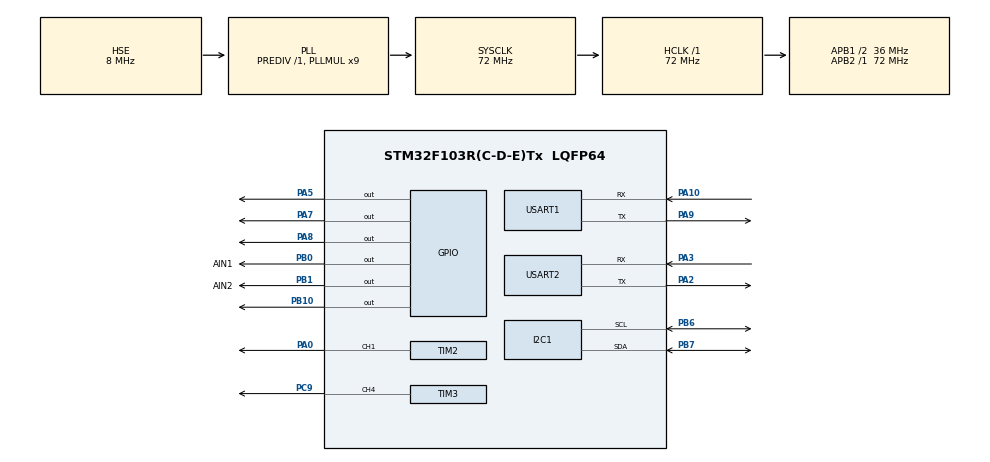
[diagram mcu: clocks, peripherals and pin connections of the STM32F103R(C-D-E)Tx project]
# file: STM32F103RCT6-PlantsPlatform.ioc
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Mcu.Family=STM32F1
Mcu.Name=STM32F103R(C-D-E)Tx
Mcu.Package=LQFP64
NVIC.PriorityGroup=NVIC_PRIORITYGROUP_4
NVIC.TIM1_BRK_IRQn=true\:0\:0\:false\:false\:true\:true\:true\:true
NVIC.TIM1_CC_IRQn=true\:0\:0\:false\:false\:true\:true\:true\:true
NVIC.TIM1_TRG_COM_IRQn=true\:0\:0\:false\:false\:true\:true\:true\:true
NVIC.TIM1_UP_IRQn=true\:0\:0\:false\:false\:true\:true\:true\:true
NVIC.TIM2_IRQn=true\:0\:0\:false\:false\:true\:true\:true\:true
NVIC.TIM3_IRQn=true\:0\:0\:false\:false\:true\:true\:true\:true
NVIC.USART1_IRQn=true\:1\:0\:true\:false\:true\:true\:true\:true
NVIC.USART2_IRQn=true\:1\:0\:true\:false\:true\:true\:true\:true
PA0-WKUP.Signal=S_TIM2_CH1_ETR
PA10.Mode=Asynchronous
PA10.Signal=USART1_RX
PA13.Mode=Serial_Wire
PA13.Signal=SYS_JTMS-SWDIO
PA14.Mode=Serial_Wire
PA14.Signal=SYS_JTCK-SWCLK
PA2.Mode=Asynchronous
PA2.Signal=USART2_TX
PA3.Mode=Asynchronous
PA3.Signal=USART2_RX
PA5.Signal=GPIO_Output
PA7.Signal=GPIO_Output
PA8.GPIO_PuPd=GPIO_PULLUP
PA8.PinState=GPIO_PIN_SET
PA8.Signal=GPIO_Output
PA9.Mode=Asynchronous
PA9.Signal=USART1_TX
PB0.GPIO_Label=AIN1
PB0.PinState=GPIO_PIN_SET
PB0.Signal=GPIO_Output
PB1.GPIO_Label=AIN2
PB1.PinState=GPIO_PIN_SET
PB1.Signal=GPIO_Output
PB10.PinState=GPIO_PIN_SET
PB10.Signal=GPIO_Output
PB6.Mode=I2C
PB6.Signal=I2C1_SCL
PB7.Mode=I2C
PB7.Signal=I2C1_SDA
PC14-OSC32_IN.Mode=LSE-External-Oscillator
PC14-OSC32_IN.Signal=RCC_OSC32_IN
PC15-OSC32_OUT.Mode=LSE-External-Oscillator
PC15-OSC32_OUT.Signal=RCC_OSC32_OUT
PC9.Signal=S_TIM3_CH4
PD0-OSC_IN.Mode=HSE-External-Oscillator
PD0-OSC_IN.Signal=RCC_OSC_IN
PD1-OSC_OUT.Mode=HSE-External-Oscillator
PD1-OSC_OUT.Signal=RCC_OSC_OUT
ProjectManager.HeapSize=0x200
ProjectManager.StackSize=0x400
ProjectManager.TargetToolchain=MDK-ARM V5.32
RCC.ADCPresc=RCC_ADCPCLK2_DIV6
RCC.AHBFreq_Value=72000000
RCC.APB1CLKDivider=RCC_HCLK_DIV2
RCC.APB1Freq_Value=36000000
RCC.APB1TimFreq_Value=72000000
RCC.APB2Freq_Value=72000000
RCC.APB2TimFreq_Value=72000000
RCC.HCLKFreq_Value=72000000
RCC.PLLMUL=RCC_PLL_MUL9
RCC.PLLSourceVirtual=RCC_PLLSOURCE_HSE
RCC.SYSCLKFreq_VALUE=72000000
RCC.SYSCLKSource=RCC_SYSCLKSOURCE_PLLCLK
RCC.USBFreq_Value=72000000
SH.S_TIM2_CH1_ETR.0=TIM2_CH1,PWM Generation1 CH1
SH.S_TIM3_CH4.0=TIM3_CH4,PWM Generation4 CH4
TIM1.Period=65535
TIM1.Prescaler=71
TIM2.AutoReloadPreload=TIM_AUTORELOAD_PRELOAD_ENABLE
TIM2.Channel-PWM\ Generation1\ CH1=TIM_CHANNEL_1
TIM2.Period=1999
TIM2.Prescaler=719
TIM3.AutoReloadPreload=TIM_AUTORELOAD_PRELOAD_DISABLE
TIM3.Channel-PWM\ Generation4\ CH4=TIM_CHANNEL_4
TIM3.Period=999
TIM3.Prescaler=71
TIM3.TIM_MasterOutputTrigger=TIM_TRGO_UPDATE
USART1.VirtualMode=VM_ASYNC
USART2.VirtualMode=VM_ASYNC
VP_TIM1_VS_ClockSourceINT.Mode=Internal
VP_TIM3_VS_ClockSourceINT.Mode=Internal
board=custom

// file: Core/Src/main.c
/* USER CODE BEGIN Header */
/**
  ******************************************************************************
  * @file           : main.c
  * @brief          : Main program body
  ******************************************************************************
  * @attention
  *
  * Copyright (c) 2024 STMicroelectronics.
  * All rights reserved.
  *
  * This software is licensed under terms that can be found in the LICENSE file
  * in the root directory of this software component.
  * If no LICENSE file comes with this software, it is provided AS-IS.
  *
  ******************************************************************************
  */
/* USER CODE END Header */
#include "main.h"
#include "i2c.h"
#include "tim.h"
#include "usart.h"
#include "gpio.h"

/* USER CODE BEGIN Includes */
#include "stdio.h"
#include "string.h"
#include "esp8266.h"
#include "onenet.h"
#include "oled.h"
#include "dht11.h"
#define STACK_SIZE 1024 // 增加堆栈大小

int fputc(int ch, FILE *f){
	uint8_t temp[1] = {ch};
	HAL_UART_Transmit(&huart1, temp, 1, 0xffff);
return ch;
}
/* USER CODE END Includes */

/* USER CODE BEGIN PV */
uint16_t GetHumidity(int times);
uint8_t GPIO_set(uint8_t status);
/* USER CODE END PV */

void SystemClock_Config(void);

/* USER CODE BEGIN 0 */
//#define Channels 4		//对应4个ADC频道提供后期传感器拓展接口
//#define Data 10			//ADC回调中ֵ每次读取10次值滤波
#define ESP8266_OneNet_INFO		"AT+CIPSTART=\"TCP\",\"mqtts.heclouds.com\",1883\r\n"			//OneNet 上云

uint8_t DATA[4] = {0XAA,0XAF,0X00,0XFF};		//串口调试用
//uint16_t ADC_Value[Data][Channels];
//uint8_t Hum = 0;
uint16_t Count = 0;
extern uint8_t Data[5];
float temp,humi;
int light_status;
int duoji_status;
int fan_status;
float pulse;
/* USER CODE END 0 */

int main(void)
{
  /* USER CODE BEGIN 1 */
	unsigned char *dataPtr = NULL;

  /* USER CODE END 1 */

  /* MCU Configuration--------------------------------------------------------*/

  /* Reset of all peripherals, Initializes the Flash interface and the Systick. */
  HAL_Init();

  /* Configure the system clock */
  SystemClock_Config();

  /* Initialize all configured peripherals */
  MX_GPIO_Init();
  MX_USART1_UART_Init();
  MX_TIM3_Init();
  MX_USART2_UART_Init();
  MX_I2C1_Init();
  MX_TIM1_Init();
  MX_TIM2_Init();
  /* USER CODE BEGIN 2 */

	 OLED_Init();  // 初始化OLED
	 OLED_CLS();   // 清屏
	 OLED_ON();    // 开启显示
	 ESP8266_Init();
	//HAL_UART_Transmit(&huart1,(uint8_t *)"Connect MQTTs Server...\r\n",sizeof("Connect MQTTs Server...\r\n"),0xffff);
	while(ESP8266_SendCmd(ESP8266_OneNet_INFO,"CONNECT"))
	HAL_Delay(10);
	//HAL_UART_Transmit(&huart1,(uint8_t *)"Connect MQTTs Server Success!\r\n",sizeof("Connect MQTTs Server Success!\r\n"),0xffff);
	HAL_Delay(10);
	while(OneNet_DevLink())
	HAL_Delay(10);
	 // 显示字符串
	OLED_ShowStr(0, 1, "1. AT", 2);  // 在(0,1)位置显示"Hello World"，使用8*16字体
	HAL_Delay(2000);
	OLED_CLS();   // 清屏
	OLED_ShowStr(0, 1, "2. CWMODE", 2);  // 在(0,1)位置显示"Hello World"，使用8*16字体
	HAL_Delay(2000);
	OLED_CLS();
	OLED_ShowStr(0, 1, "3. AT+CWDHCP", 2);  // 在(0,1)位置显示"Hello World"，使用8*16字体
	HAL_Delay(2000);
	OLED_CLS();
	OLED_ShowStr(0, 1, "4. CWJAP", 2);  // 在(0,1)位置显示"Hello World"，使用8*16字体
	HAL_Delay(2000);
	OLED_CLS();
	OLED_ShowStr(0, 1, "5. ESP8266 Init OK", 2);  // 在(0,1)位置显示"Hello World"，使用8*16字体
	HAL_Delay(2000);
	OLED_CLS();
	OLED_ShowStr(0, 1, "Hello World", 2);  // 在(0,1)位置显示"Hello World"，使用8*16字体
	HAL_Delay(5000);
	OLED_CLS();   // 清屏
	OneNET_Subscribe();

	 HAL_Delay(10);

	light_status = GPIO_set(0);
  duoji_status = Duoji_set(0);
	fan_status = fan_set(0);

	HAL_Delay(100);
  /* USER CODE END 2 */

  /* Infinite loop */
  /* USER CODE BEGIN WHILE */
  while (1)
  {

        DHT_Read();

				temp = Data[2]+0.1*Data[3];

				humi = Data[0]+0.1*Data[1];

				Count++;
		OLED_ShowStr(10, 1, "temp:", 2);
		OLED_ShowNum(40, 1,temp,5,16);//size2(16|12)
		OLED_ShowStr(10, 4, "humi:", 2);
		OLED_ShowNum(40,4,humi,5,16);//size2(16|12)

		if(Count > 30){

				temp = Data[2]+0.1*Data[3];

				humi = Data[0]+0.1*Data[1];

			HAL_Delay(50);
			//printf("OneNet_SendData\r\n");

			OneNet_SendData();
			Count = 0;
			ESP8266_Clear();
		}
		HAL_Delay(50);
		dataPtr = ESP8266_GetIPD(0);
		if(dataPtr != NULL){
			OneNet_RevPro(dataPtr);
			ESP8266_Clear();
		}

//		 int i=1000; //循环时间间隔1s
//
//      __HAL_TIM_SET_COMPARE(&htim2,TIM_CHANNEL_1,50); //相当于一个周期内（20ms）有0.5ms高脉冲
//      HAL_Delay(i);
//      __HAL_TIM_SET_COMPARE(&htim2,TIM_CHANNEL_1,250); //相当于一个周期内（20ms）有2.5ms高脉冲
//      HAL_Delay(i);

//		if(DHT_Read())
//			{
//				printf("DHT11 Read Success!\r\n");
//				printf("Temperature: %d.%d ℃\r\n", Data[2], Data[3]);
//				printf("Humidity: %d.%d %%\r\n", Data[0], Data[1]);
//			}
//			else
//			{
//				printf("DHT11 Read Failed!\r\n");
//			}
//			HAL_Delay(50);

//	printf("Temperature: %0.1f℃\r\n",temp);
//	printf("Temperature: %0.1f\r\n",humi);

//    HAL_GPIO_WritePin(GPIOB, GPIO_PIN_10, GPIO_PIN_SET);
//		HAL_Delay(20);

//		HAL_UART_Transmit(&huart1,(uint8_t *)"Hello world\r\n",sizeof("Hello world\r\n"),0xffff);
//		OLED_ShowNum(0,1,15,3,16);//size2(16|12)
//		OLED_ShowStr(0,1,"text", 6*8);//显示字符串
		HAL_Delay(10);

    /* USER CODE END WHILE */

  }
}

void SystemClock_Config(void)
{
  RCC_OscInitTypeDef RCC_OscInitStruct = {0};
  RCC_ClkInitTypeDef RCC_ClkInitStruct = {0};

  /** Initializes the RCC Oscillators according to the specified parameters
  * in the RCC_OscInitTypeDef structure.
  */
  RCC_OscInitStruct.OscillatorType = RCC_OSCILLATORTYPE_HSE;
  RCC_OscInitStruct.HSEState = RCC_HSE_ON;
  RCC_OscInitStruct.HSEPredivValue = RCC_HSE_PREDIV_DIV1;
  RCC_OscInitStruct.HSIState = RCC_HSI_ON;
  RCC_OscInitStruct.PLL.PLLState = RCC_PLL_ON;
  RCC_OscInitStruct.PLL.PLLSource = RCC_PLLSOURCE_HSE;
  RCC_OscInitStruct.PLL.PLLMUL = RCC_PLL_MUL9;
  if (HAL_RCC_OscConfig(&RCC_OscInitStruct) != HAL_OK)
  {
    Error_Handler();
  }

  /** Initializes the CPU, AHB and APB buses clocks
  */
  RCC_ClkInitStruct.ClockType = RCC_CLOCKTYPE_HCLK|RCC_CLOCKTYPE_SYSCLK
                              |RCC_CLOCKTYPE_PCLK1|RCC_CLOCKTYPE_PCLK2;
  RCC_ClkInitStruct.SYSCLKSource = RCC_SYSCLKSOURCE_PLLCLK;
  RCC_ClkInitStruct.AHBCLKDivider = RCC_SYSCLK_DIV1;
  RCC_ClkInitStruct.APB1CLKDivider = RCC_HCLK_DIV2;
  RCC_ClkInitStruct.APB2CLKDivider = RCC_HCLK_DIV1;

  if (HAL_RCC_ClockConfig(&RCC_ClkInitStruct, FLASH_LATENCY_2) != HAL_OK)
  {
    Error_Handler();
  }
}

/* USER CODE BEGIN 4 */
void Motor_Start(void)
{
	HAL_TIM_PWM_Start(&htim3,TIM_CHANNEL_4);
}
void Motor_SetSpeed(int Mode,float speed)
{
	//356为我是用的电机最大转速，此if判断保证速度的合理性
	if(0 <= speed && speed <= 356)
	//速度转换为比较寄存器值的一元一次函数
	 pulse = 0 + 2.8086*speed;

	if(Mode == 1)
	{
		HAL_GPIO_WritePin(AIN1_GPIO_Port,AIN1_Pin,GPIO_PIN_RESET);
		HAL_GPIO_WritePin(AIN2_GPIO_Port,AIN2_Pin,GPIO_PIN_SET);
	}
	if(Mode == 0)
	{
		HAL_GPIO_WritePin(AIN1_GPIO_Port,AIN1_Pin,GPIO_PIN_SET);
		HAL_GPIO_WritePin(AIN2_GPIO_Port,AIN2_Pin,GPIO_PIN_RESET);
	}
	__HAL_TIM_SET_COMPARE(&htim3,TIM_CHANNEL_4,pulse);
}

uint8_t GPIO_set(uint8_t status)
{
	HAL_GPIO_WritePin(GPIOB, GPIO_PIN_10, !status);
	return status;
}
uint8_t Duoji_set(uint8_t status)
{
	if(status == 1)
	{
		HAL_TIM_PWM_Start(&htim2,TIM_CHANNEL_1);//***定时器初始化
	__HAL_TIM_SET_COMPARE(&htim2,TIM_CHANNEL_1,250);
	return 1 ;
	}
	else if(status == 0)
	{
		HAL_TIM_PWM_Start(&htim2,TIM_CHANNEL_1);//***定时器初始化
		__HAL_TIM_SET_COMPARE(&htim2,TIM_CHANNEL_1,160);
	return 0 ;
	}
}
uint8_t fan_set(uint8_t status)
{
	if(status == 1)
	{
	HAL_TIM_PWM_Stop(&htim2,TIM_CHANNEL_1);
	 HAL_TIM_PWM_Start(&htim3,TIM_CHANNEL_4);//***定时器初始化
	 Motor_SetSpeed(0,300);
	return 1 ;
	}
	else if(status == 0)
	{
	HAL_TIM_PWM_Stop(&htim3,TIM_CHANNEL_4);
	Motor_SetSpeed(0,0);

	return 0 ;
	}
}
//void HAL_ADC_ConvCpltCallback(ADC_HandleTypeDef* hadc){
//  uint32_t Total_DAC_Data = 0;
//  uint32_t AVG_Data = 0;
//  for(uint8_t i = 0; i < Data; i++){
//		//printf("ADC Value: %d,%d,%d,%d\r\n",ADC_Value[i][0],ADC_Value[i][1],ADC_Value[i][2],ADC_Value[i][3]);
//    Total_DAC_Data = Total_DAC_Data + ADC_Value[i][3];    //目前只在 PB1(IN9)中接入了传感器
//  }
//  AVG_Data = Total_DAC_Data/10;
//  Hum = (float)(4096 - AVG_Data)/(4096-1400)*100;
//  //printf("Average ADC Value: %d\r\n",AVG_Data);
//	Count++;
  //printf("\n--------------------------------------------\n");
//}

/* USER CODE END 4 */

void Error_Handler(void)
{
  __disable_irq();
  while (1)
  {
  }
}
